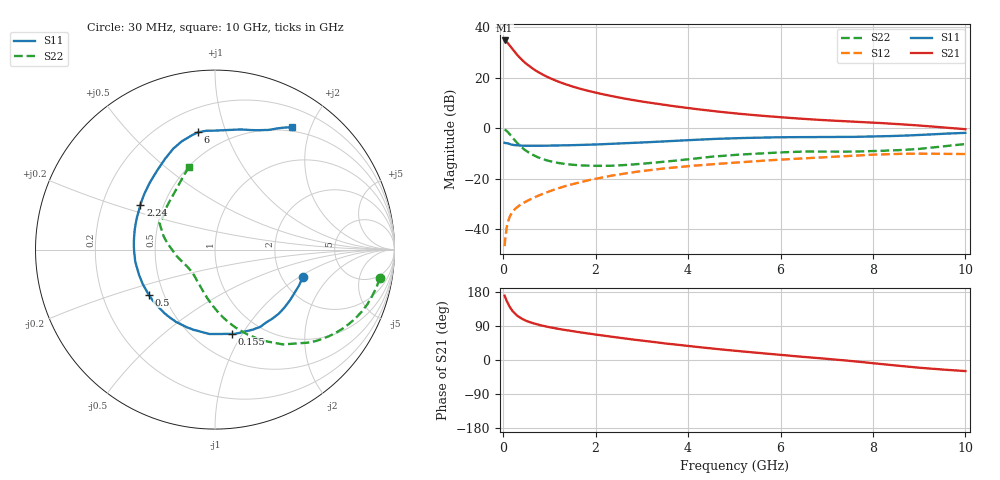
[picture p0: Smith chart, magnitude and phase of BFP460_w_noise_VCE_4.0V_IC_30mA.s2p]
! (c) 2016  Infineon Technologies AG, Munich
! Infineon Technologies  Discrete & RF Semiconductors
! BFP460
! VCE =  4.0 V,  IC =  30 mA
! Common Emitter S-Parameters:  Jan 2016
# GHz  S  MA  R  50
!  f  S11  S21  S12  S22
! GHz  MAG  ANG  MAG  ANG  MAG  ANG  MAG  ANG
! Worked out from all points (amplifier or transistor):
!   229 points, 30 MHz to 10 GHz, reference 50 ohm
!   highest |S21| = 34.7 dB at 30 MHz (marker M1)
!   |S21| within 3 dB of that: start of sweep to 182.6 MHz
!   unconditionally stable (mu >= 1): 1.529 GHz to 7.563 GHz
!   at 280 MHz: K = 0.51, MSG = 30.6 dB, |S12| = -31.6 dB
!   at 1.78 GHz: K = 1.01, MAG = 17.2 dB, |S12| = -20.9 dB
!   at 10 GHz: K = 0.97, MSG = 4.9 dB, |S12| = -10.3 dB
!   lowest NFmin = 1.47 dB at 450 MHz
!   S11 on the Smith chart (normalised r, x): 30 MHz: 2.60, -1.07; 155 MHz: 0.74, -0.90; 500 MHz: 0.41, -0.26; 2.24 GHz: 0.37, +0.24; 6 GHz: 0.35, +0.80; 10 GHz: 0.44, +1.73
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0.03  0.5127 -17.3  54.42 169.7  0.0046 81.8  0.9312 -9.9
0.05  0.5049 -28.6  52.7 163.2  0.0072 77.4  0.9133 -16.4
0.07  0.5038 -40.2  51.25 157.3  0.01 74.7  0.8876 -22.9
0.09  0.4998 -50.6  49.09 152.0  0.0126 71.7  0.8537 -29.0
0.12  0.4934 -64.5  45.63 144.6  0.0156 67.3  0.7979 -37.2
0.155  0.4793 -78.6  41.53 137.4  0.0187 63.4  0.7298 -45.3
0.2  0.4712 -93.9  36.79 129.4  0.0219 59.9  0.6495 -54.4
0.24  0.4623 -105.0  33.06 124.0  0.0242 57.9  0.587 -60.6
0.3  0.4578 -118.4  28.38 117.1  0.0272 56.2  0.5091 -68.8
0.4  0.4494 -134.5  22.67 109.0  0.0314 55.5  0.4158 -79.0
0.5  0.4467 -145.9  18.73 103.2  0.0355 56.1  0.3528 -86.7
0.7  0.446 -161.4  13.8 95.0  0.0435 57.6  0.2771 -98.5
1  0.4498 -176.2  9.859 86.5  0.0561 59.2  0.2223 -111.2
1.3  0.4551 173.2  7.654 80.0  0.0691 59.4  0.1974 -120.8
1.7  0.465 161.9  5.901 72.4  0.0866 58.2  0.1827 -131.1
2.24  0.4843 149.1  4.508 63.2  0.1101 55.0  0.1792 -143.8
3.4  0.5404 127.6  2.961 45.4  0.156 45.8  0.2127 -168.9
5.1  0.6345 105.9  1.927 23.4  0.2101 32.8  0.2987 164.6
6  0.6601 98.3  1.643 13.3  0.2381 26.1  0.3307 156.9
6.8  0.6629 91.5  1.465 5.2  0.2603 20.3  0.3427 153.2
8.4  0.6967 72.9  1.225 -13.3  0.3068 6.1  0.361 137.5
10  0.8061 57.8  0.952 -29.2  0.3071 -6.5  0.4847 107.4
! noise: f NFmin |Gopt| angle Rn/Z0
0.45  1.47  0.19  -172  0.12
0.9  1.49  0.17  -164  0.13
1.9  1.61  0.28  -144  0.13
3.5  1.51  0.49  -120  0.18
